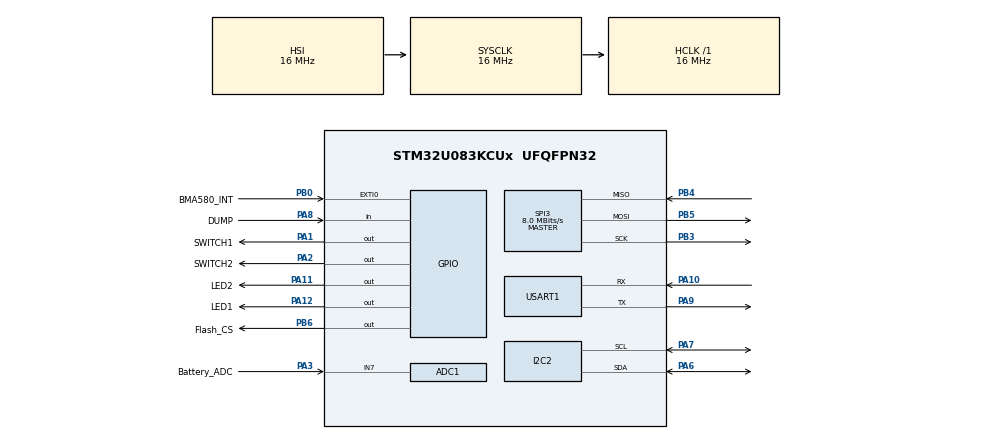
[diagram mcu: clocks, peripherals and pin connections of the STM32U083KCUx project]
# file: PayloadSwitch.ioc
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ADC1.Channel-0\#ChannelRegularConversion=ADC_CHANNEL_7
ADC1.NbrOfConversionFlag=1
ADC1.Rank-0\#ChannelRegularConversion=1
ADC1.RankArg-0\#ChannelRegularConversion=ADC_REGULAR_RANK_1
ADC1.SamplingTime-0\#ChannelRegularConversion=ADC_SAMPLINGTIME_COMMON_1
ADC1.SelectedChannel=ADC_CHANNEL_7
ADC1.master=1
I2C2.Timing=0x00303D5B
Mcu.Family=STM32U0
Mcu.Name=STM32U083KCUx
Mcu.Package=UFQFPN32
NVIC.EXTI0_1_IRQn=true\:0\:0\:false\:false\:true\:true\:true\:true
NVIC.PriorityGroup=NVIC_PRIORITYGROUP_2
PA1.GPIO_Label=SWITCH1
PA1.Signal=GPIO_Output
PA10.Mode=Asynchronous
PA10.Signal=USART1_RX
PA11\ [PA9].GPIO_Label=LED2
PA11\ [PA9].Signal=GPIO_Output
PA12\ [PA10].GPIO_Label=LED1
PA12\ [PA10].Signal=GPIO_Output
PA13\ (SWDIO).Mode=Serial_Wire
PA13\ (SWDIO).Signal=DEBUG_JTMS-SWDIO
PA14\ (SWCLK).Mode=Serial_Wire
PA14\ (SWCLK).Signal=DEBUG_JTCK-SWCLK
PA2.GPIO_Label=SWITCH2
PA2.Signal=GPIO_Output
PA3.GPIO_Label=Battery_ADC
PA3.Mode=IN7
PA3.Signal=ADC1_IN7
PA6.Mode=I2C
PA6.Signal=I2C2_SDA
PA7.Mode=I2C
PA7.Signal=I2C2_SCL
PA8.GPIO_Label=DUMP
PA8.GPIO_PuPd=GPIO_PULLDOWN
PA8.Signal=GPIO_Input
PA9.Mode=Asynchronous
PA9.Signal=USART1_TX
PB0.GPIO_Label=BMA580_INT
PB0.GPIO_ModeDefaultEXTI=GPIO_MODE_IT_FALLING
PB0.GPIO_PuPd=GPIO_PULLUP
PB0.Signal=GPXTI0
PB3.Mode=Full_Duplex_Master
PB3.Signal=SPI3_SCK
PB4.Mode=Full_Duplex_Master
PB4.Signal=SPI3_MISO
PB5.Mode=Full_Duplex_Master
PB5.Signal=SPI3_MOSI
PB6.GPIO_Label=Flash_CS
PB6.PinState=GPIO_PIN_SET
PB6.Signal=GPIO_Output
ProjectManager.HeapSize=0x200
ProjectManager.StackSize=0x400
ProjectManager.TargetToolchain=STM32CubeIDE
RCC.AHBFreq_Value=16000000
RCC.CortexFreq_Value=16000000
RCC.HCLKFreq_Value=16000000
RCC.HSE_VALUE=4000000
RCC.HSI48_VALUE=48000000
RCC.HSI_VALUE=16000000
RCC.LSE_VALUE=32768
RCC.MSI_VALUE=4000000
RCC.SYSCLKFreq_VALUE=16000000
RCC.VCOOutputFreq_Value=64000000
SPI3.CalculateBaudRate=8.0 MBits/s
SPI3.DataSize=SPI_DATASIZE_8BIT
SPI3.Direction=SPI_DIRECTION_2LINES
SPI3.Mode=SPI_MODE_MASTER
SPI3.VirtualType=VM_MASTER
USART1.VirtualMode-Asynchronous=VM_ASYNC
VP_PWR_VS_SECSignals.Mode=Security/Privilege
board=custom

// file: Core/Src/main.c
/* USER CODE BEGIN Header */
/**
  ******************************************************************************
  * @file           : main.c
  * @brief          : Main program body
  ******************************************************************************
  * @attention
  *
  * Copyright (c) 2026 STMicroelectronics.
  * All rights reserved.
  *
  * This software is licensed under terms that can be found in the LICENSE file
  * in the root directory of this software component.
  * If no LICENSE file comes with this software, it is provided AS-IS.
  *
  ******************************************************************************
  */
/* USER CODE END Header */
#include "main.h"

/* USER CODE BEGIN Includes */
#include "bma580.h"
#include "trigger.h"
#include "led.h"
/* USER CODE END Includes */

ADC_HandleTypeDef hadc1;

I2C_HandleTypeDef hi2c2;

SPI_HandleTypeDef hspi3;

UART_HandleTypeDef huart1;

/* USER CODE BEGIN PV */
bool launched = false;
/* USER CODE END PV */

void SystemClock_Config(void);
static void MX_GPIO_Init(void);
static void MX_ADC1_Init(void);
static void MX_I2C2_Init(void);
static void MX_SPI3_Init(void);
static void MX_USART1_UART_Init(void);

int main(void)
{

  /* MCU Configuration--------------------------------------------------------*/

  /* Reset of all peripherals, Initializes the Flash interface and the Systick. */
  HAL_Init();

  /* Configure the system clock */
  SystemClock_Config();

  /* Initialize all configured peripherals */
  MX_GPIO_Init();
  MX_ADC1_Init();
  MX_I2C2_Init();
  MX_SPI3_Init();
  MX_USART1_UART_Init();
  /* USER CODE BEGIN 2 */

  // Pass in the I2C handle and slave adress
  setup_bma580(&hi2c2, 0b00011000);
  HAL_StatusTypeDef status = BMA580_Init();
  if (status != HAL_OK) {
    flashLED(1); // Flash Red to indicate initialization failure
    // Handle initialization error
  } else {
    flashLED(2); // Flash Green to indicate successful initialization
  }

  /* USER CODE END 2 */

  /* Infinite loop */
  /* USER CODE BEGIN WHILE */
  HAL_PWR_EnterSLEEPMode(PWR_MAINREGULATOR_ON, PWR_SLEEPENTRY_WFI);
  while (1)
  {
    /* USER CODE END WHILE */

    /* USER CODE BEGIN 3 */

    if (launched == false) { //this code will only be reached when the rocket has not launched
      launched = launched_interrupt();
      continue;
    }

    //this code will only be reached when the rocket has launched
    detect_landing(&hspi3);
  }
  /* USER CODE END 3 */
}

void SystemClock_Config(void)
{
  RCC_OscInitTypeDef RCC_OscInitStruct = {0};
  RCC_ClkInitTypeDef RCC_ClkInitStruct = {0};

  /** Configure the main internal regulator output voltage
  */
  HAL_PWREx_ControlVoltageScaling(PWR_REGULATOR_VOLTAGE_SCALE2);

  /** Initializes the RCC Oscillators according to the specified parameters
  * in the RCC_OscInitTypeDef structure.
  */
  RCC_OscInitStruct.OscillatorType = RCC_OSCILLATORTYPE_HSI;
  RCC_OscInitStruct.HSIState = RCC_HSI_ON;
  RCC_OscInitStruct.HSICalibrationValue = RCC_HSICALIBRATION_DEFAULT;
  RCC_OscInitStruct.PLL.PLLState = RCC_PLL_NONE;
  if (HAL_RCC_OscConfig(&RCC_OscInitStruct) != HAL_OK)
  {
    Error_Handler();
  }

  /** Initializes the CPU, AHB and APB buses clocks
  */
  RCC_ClkInitStruct.ClockType = RCC_CLOCKTYPE_HCLK|RCC_CLOCKTYPE_SYSCLK
                              |RCC_CLOCKTYPE_PCLK1;
  RCC_ClkInitStruct.SYSCLKSource = RCC_SYSCLKSOURCE_HSI;
  RCC_ClkInitStruct.AHBCLKDivider = RCC_SYSCLK_DIV1;
  RCC_ClkInitStruct.APB1CLKDivider = RCC_HCLK_DIV1;

  if (HAL_RCC_ClockConfig(&RCC_ClkInitStruct, FLASH_LATENCY_1) != HAL_OK)
  {
    Error_Handler();
  }
}

static void MX_ADC1_Init(void)
{

  ADC_ChannelConfTypeDef sConfig = {0};

  /** Configure the global features of the ADC (Clock, Resolution, Data Alignment and number of conversion)
  */
  hadc1.Instance = ADC1;
  hadc1.Init.ClockPrescaler = ADC_CLOCK_SYNC_PCLK_DIV1;
  hadc1.Init.Resolution = ADC_RESOLUTION_12B;
  hadc1.Init.DataAlign = ADC_DATAALIGN_RIGHT;
  hadc1.Init.ScanConvMode = ADC_SCAN_DISABLE;
  hadc1.Init.EOCSelection = ADC_EOC_SINGLE_CONV;
  hadc1.Init.LowPowerAutoWait = DISABLE;
  hadc1.Init.LowPowerAutoPowerOff = DISABLE;
  hadc1.Init.ContinuousConvMode = DISABLE;
  hadc1.Init.NbrOfConversion = 1;
  hadc1.Init.DiscontinuousConvMode = DISABLE;
  hadc1.Init.ExternalTrigConv = ADC_SOFTWARE_START;
  hadc1.Init.ExternalTrigConvEdge = ADC_EXTERNALTRIGCONVEDGE_NONE;
  hadc1.Init.DMAContinuousRequests = DISABLE;
  hadc1.Init.Overrun = ADC_OVR_DATA_PRESERVED;
  hadc1.Init.SamplingTimeCommon1 = ADC_SAMPLETIME_1CYCLE_5;
  hadc1.Init.SamplingTimeCommon2 = ADC_SAMPLETIME_1CYCLE_5;
  hadc1.Init.OversamplingMode = DISABLE;
  hadc1.Init.TriggerFrequencyMode = ADC_TRIGGER_FREQ_HIGH;
  if (HAL_ADC_Init(&hadc1) != HAL_OK)
  {
    Error_Handler();
  }

  /** Configure Regular Channel
  */
  sConfig.Channel = ADC_CHANNEL_7;
  sConfig.Rank = ADC_REGULAR_RANK_1;
  sConfig.SamplingTime = ADC_SAMPLINGTIME_COMMON_1;
  if (HAL_ADC_ConfigChannel(&hadc1, &sConfig) != HAL_OK)
  {
    Error_Handler();
  }

}

static void MX_I2C2_Init(void)
{

  hi2c2.Instance = I2C2;
  hi2c2.Init.Timing = 0x00303D5B;
  hi2c2.Init.OwnAddress1 = 0;
  hi2c2.Init.AddressingMode = I2C_ADDRESSINGMODE_7BIT;
  hi2c2.Init.DualAddressMode = I2C_DUALADDRESS_DISABLE;
  hi2c2.Init.OwnAddress2 = 0;
  hi2c2.Init.OwnAddress2Masks = I2C_OA2_NOMASK;
  hi2c2.Init.GeneralCallMode = I2C_GENERALCALL_DISABLE;
  hi2c2.Init.NoStretchMode = I2C_NOSTRETCH_DISABLE;
  if (HAL_I2C_Init(&hi2c2) != HAL_OK)
  {
    Error_Handler();
  }

  /** Configure Analogue filter
  */
  if (HAL_I2CEx_ConfigAnalogFilter(&hi2c2, I2C_ANALOGFILTER_ENABLE) != HAL_OK)
  {
    Error_Handler();
  }

  /** Configure Digital filter
  */
  if (HAL_I2CEx_ConfigDigitalFilter(&hi2c2, 0) != HAL_OK)
  {
    Error_Handler();
  }

}

static void MX_SPI3_Init(void)
{

  /* SPI3 parameter configuration*/
  hspi3.Instance = SPI3;
  hspi3.Init.Mode = SPI_MODE_MASTER;
  hspi3.Init.Direction = SPI_DIRECTION_2LINES;
  hspi3.Init.DataSize = SPI_DATASIZE_8BIT;
  hspi3.Init.CLKPolarity = SPI_POLARITY_LOW;
  hspi3.Init.CLKPhase = SPI_PHASE_1EDGE;
  hspi3.Init.NSS = SPI_NSS_SOFT;
  hspi3.Init.BaudRatePrescaler = SPI_BAUDRATEPRESCALER_2;
  hspi3.Init.FirstBit = SPI_FIRSTBIT_MSB;
  hspi3.Init.TIMode = SPI_TIMODE_DISABLE;
  hspi3.Init.CRCCalculation = SPI_CRCCALCULATION_DISABLE;
  hspi3.Init.CRCPolynomial = 7;
  hspi3.Init.CRCLength = SPI_CRC_LENGTH_DATASIZE;
  hspi3.Init.NSSPMode = SPI_NSS_PULSE_ENABLE;
  if (HAL_SPI_Init(&hspi3) != HAL_OK)
  {
    Error_Handler();
  }

}

static void MX_USART1_UART_Init(void)
{

  huart1.Instance = USART1;
  huart1.Init.BaudRate = 115200;
  huart1.Init.WordLength = UART_WORDLENGTH_8B;
  huart1.Init.StopBits = UART_STOPBITS_1;
  huart1.Init.Parity = UART_PARITY_NONE;
  huart1.Init.Mode = UART_MODE_TX_RX;
  huart1.Init.HwFlowCtl = UART_HWCONTROL_NONE;
  huart1.Init.OverSampling = UART_OVERSAMPLING_16;
  huart1.Init.OneBitSampling = UART_ONE_BIT_SAMPLE_DISABLE;
  huart1.Init.ClockPrescaler = UART_PRESCALER_DIV1;
  huart1.AdvancedInit.AdvFeatureInit = UART_ADVFEATURE_NO_INIT;
  if (HAL_UART_Init(&huart1) != HAL_OK)
  {
    Error_Handler();
  }
  if (HAL_UARTEx_SetTxFifoThreshold(&huart1, UART_TXFIFO_THRESHOLD_1_8) != HAL_OK)
  {
    Error_Handler();
  }
  if (HAL_UARTEx_SetRxFifoThreshold(&huart1, UART_RXFIFO_THRESHOLD_1_8) != HAL_OK)
  {
    Error_Handler();
  }
  if (HAL_UARTEx_DisableFifoMode(&huart1) != HAL_OK)
  {
    Error_Handler();
  }

}

static void MX_GPIO_Init(void)
{
  GPIO_InitTypeDef GPIO_InitStruct = {0};

  /* GPIO Ports Clock Enable */
  __HAL_RCC_GPIOA_CLK_ENABLE();
  __HAL_RCC_GPIOB_CLK_ENABLE();

  /*Configure GPIO pin Output Level */
  HAL_GPIO_WritePin(GPIOA, SWITCH1_Pin|SWITCH2_Pin|LED2_Pin|LED1_Pin, GPIO_PIN_RESET);

  /*Configure GPIO pin Output Level */
  HAL_GPIO_WritePin(Flash_CS_GPIO_Port, Flash_CS_Pin, GPIO_PIN_SET);

  /*Configure GPIO pins : SWITCH1_Pin SWITCH2_Pin LED2_Pin LED1_Pin */
  GPIO_InitStruct.Pin = SWITCH1_Pin|SWITCH2_Pin|LED2_Pin|LED1_Pin;
  GPIO_InitStruct.Mode = GPIO_MODE_OUTPUT_PP;
  GPIO_InitStruct.Pull = GPIO_NOPULL;
  GPIO_InitStruct.Speed = GPIO_SPEED_FREQ_LOW;
  HAL_GPIO_Init(GPIOA, &GPIO_InitStruct);

  /*Configure GPIO pin : BMA580_INT_Pin */
  GPIO_InitStruct.Pin = BMA580_INT_Pin;
  GPIO_InitStruct.Mode = GPIO_MODE_IT_FALLING;
  GPIO_InitStruct.Pull = GPIO_PULLUP;
  HAL_GPIO_Init(BMA580_INT_GPIO_Port, &GPIO_InitStruct);

  /*Configure GPIO pin : DUMP_Pin */
  GPIO_InitStruct.Pin = DUMP_Pin;
  GPIO_InitStruct.Mode = GPIO_MODE_INPUT;
  GPIO_InitStruct.Pull = GPIO_PULLDOWN;
  HAL_GPIO_Init(DUMP_GPIO_Port, &GPIO_InitStruct);

  /*Configure GPIO pin : Flash_CS_Pin */
  GPIO_InitStruct.Pin = Flash_CS_Pin;
  GPIO_InitStruct.Mode = GPIO_MODE_OUTPUT_PP;
  GPIO_InitStruct.Pull = GPIO_NOPULL;
  GPIO_InitStruct.Speed = GPIO_SPEED_FREQ_LOW;
  HAL_GPIO_Init(Flash_CS_GPIO_Port, &GPIO_InitStruct);

  /* EXTI interrupt init*/
  HAL_NVIC_SetPriority(EXTI0_1_IRQn, 0, 0);
  HAL_NVIC_EnableIRQ(EXTI0_1_IRQn);

}

void Error_Handler(void)
{
  __disable_irq();
  while (1)
  {
  }
}
